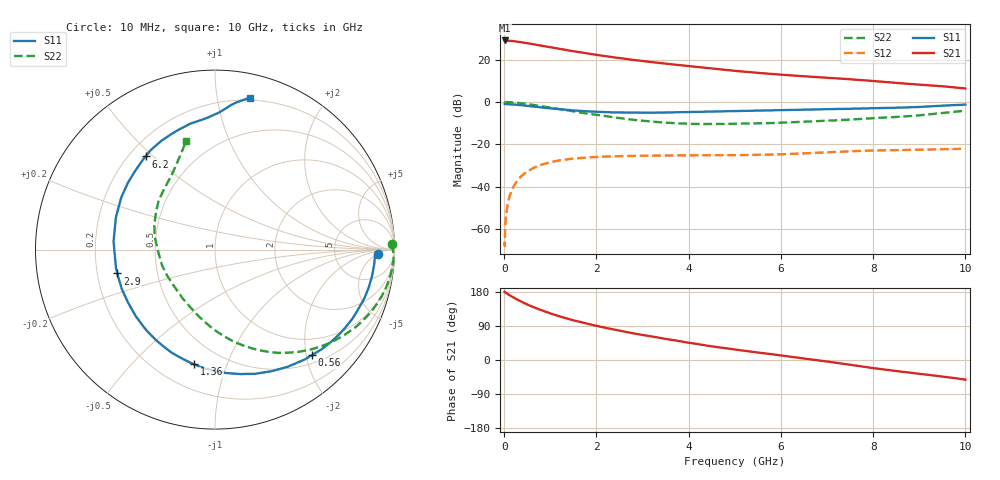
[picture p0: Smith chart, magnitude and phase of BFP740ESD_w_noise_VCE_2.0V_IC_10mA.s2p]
! Infineon Technologies  Discrete & RF Semiconductors
! BFP740ESD
! VCE =  2.0 V,  IC =  10 mA
! Common Emitter S-Parameters:  Jan 2016
# GHz  S  MA  R  50
!  f  S11  S21  S12  S22
! GHz  MAG  ANG  MAG  ANG  MAG  ANG  MAG  ANG
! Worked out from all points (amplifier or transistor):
!   233 points, 10 MHz to 10 GHz, reference 50 ohm
!   highest |S21| = 29.0 dB at 10 MHz (marker M1)
!   |S21| within 3 dB of that: start of sweep to 952.2 MHz
!   unconditionally stable (mu >= 1): 5.143 GHz to 9.142 GHz
!   at 200 MHz: K = 0.08, MSG = 34.4 dB, |S12| = -40.0 dB
!   at 1.74 GHz: K = 0.40, MSG = 24.7 dB, |S12| = -26.2 dB
!   at 10 GHz: K = 0.74, MSG = 14.2 dB, |S12| = -22.0 dB
!   lowest NFmin = 0.60 dB at 450 MHz
!   S11 on the Smith chart (normalised r, x): 10 MHz: 19, -5; 560 MHz: 0.65, -2.11; 1.36 GHz: 0.35, -0.77; 2.9 GHz: 0.29, -0.11; 6.2 GHz: 0.26, +0.47; 10 GHz: 0.18, +1.24
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0.01  0.907 -1.4  28.23 179.9  0.0005 -29.2  0.9872 1.7
0.015  0.8996 -1.7  28.04 179.2  0.0004 61.1  0.9907 0.2
0.02  0.8923 -2.0  27.85 178.5  0.001 91.1  0.9949 -1.2
0.05  0.8915 -4.5  27.86 176.0  0.0026 87.2  0.9961 -3.0
0.15  0.8823 -13.7  27.61 168.7  0.0076 82.2  0.9861 -9.2
0.28  0.8596 -25.0  26.49 159.7  0.0137 75.4  0.9586 -16.9
0.4  0.8356 -35.0  25.33 152.3  0.019 69.9  0.9265 -23.4
0.56  0.7981 -47.5  23.68 143.4  0.0251 62.9  0.8764 -31.4
0.7  0.7685 -58.1  22.34 136.3  0.03 57.5  0.8325 -38.0
0.9  0.7278 -71.9  20.45 127.2  0.0357 50.6  0.7689 -46.5
1.12  0.6865 -86.1  18.56 118.2  0.0406 44.0  0.701 -55.0
1.36  0.6496 -100.2  16.71 109.4  0.0445 37.9  0.6341 -63.4
1.68  0.6136 -116.7  14.64 99.1  0.0482 31.4  0.5594 -73.2
2.22  0.5752 -140.8  11.93 84.3  0.0519 23.0  0.4605 -88.0
2.9  0.56 -166.3  9.525 68.3  0.0539 15.9  0.371 -106.6
3.4  0.5628 178.3  8.24 57.9  0.0546 12.4  0.3325 -120.0
4  0.5809 161.9  7.04 45.5  0.0555 9.2  0.3071 -137.4
5.1  0.6135 141.0  5.307 26.1  0.056 6.0  0.3076 -165.1
6.2  0.6473 126.7  4.256 9.0  0.0596 5.5  0.3324 172.4
6.8  0.6683 118.9  3.848 -0.7  0.0636 4.2  0.3548 162.1
8.4  0.7281 95.4  2.875 -27.5  0.073 -4.9  0.4373 131.0
10  0.8694 77.0  2.084 -51.8  0.079 -13.9  0.6251 104.9
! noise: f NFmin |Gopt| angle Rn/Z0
0.45  0.6  0.2  3  0.08
0.9  0.63  0.19  13  0.1
1.9  0.65  0.18  17  0.1
2.4  0.7  0.12  37  0.11
5.5  0.9  0.24  -138  0.14
10  1.66  0.57  -90  0.48
